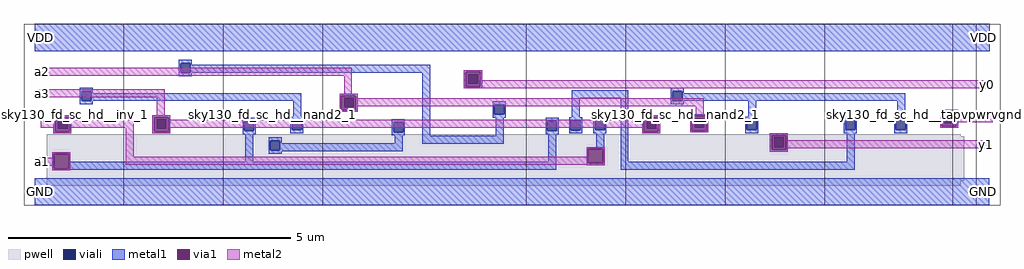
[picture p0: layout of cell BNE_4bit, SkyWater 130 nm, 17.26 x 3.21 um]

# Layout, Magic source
magic
tech sky130B
magscale 1 2
<< pwell >>
rect 80 244 3313 252
rect 80 86 3326 244
rect 80 69 3313 86
<< viali >>
rect 554 469 588 503
rect 1572 430 1606 464
rect 204 369 238 403
rect 1132 346 1166 380
rect 2294 369 2328 403
rect 1664 321 1698 355
rect 120 270 154 304
rect 470 270 504 304
rect 779 263 813 297
rect 948 267 982 301
rect 1307 259 1341 293
rect 1851 263 1885 297
rect 1934 266 1968 300
rect 2020 267 2054 301
rect 2202 270 2236 304
rect 2372 274 2406 308
rect 2557 267 2591 301
rect 2906 267 2940 301
rect 3084 267 3118 301
rect 3256 290 3290 324
rect 871 195 905 229
rect 2654 206 2688 240
<< metal1 >>
rect 38 544 3416 642
rect 548 503 594 515
rect 548 469 554 503
rect 588 497 594 503
rect 588 469 1436 497
rect 548 457 594 469
rect 198 403 244 415
rect 198 369 204 403
rect 238 397 244 403
rect 238 369 980 397
rect 198 357 244 369
rect 104 312 168 318
rect 104 260 110 312
rect 162 260 168 312
rect 104 254 168 260
rect 454 312 518 318
rect 952 313 980 369
rect 1116 388 1180 394
rect 1116 336 1122 388
rect 1174 336 1180 388
rect 1116 330 1180 336
rect 454 260 460 312
rect 512 260 518 312
rect 454 254 518 260
rect 773 297 819 309
rect 773 263 779 297
rect 813 263 819 297
rect 773 251 819 263
rect 942 301 988 313
rect 942 267 948 301
rect 982 267 988 301
rect 942 255 988 267
rect 1301 293 1347 305
rect 1301 259 1307 293
rect 1341 259 1347 293
rect 100 182 164 188
rect 100 130 106 182
rect 158 153 164 182
rect 783 153 811 251
rect 1301 247 1347 259
rect 865 229 911 241
rect 865 195 871 229
rect 905 219 911 229
rect 1311 219 1339 247
rect 905 195 1339 219
rect 1408 245 1436 469
rect 1556 472 1620 478
rect 1556 420 1562 472
rect 1614 420 1620 472
rect 1556 414 1620 420
rect 1938 378 2138 406
rect 1658 355 1704 367
rect 1658 321 1664 355
rect 1698 321 1704 355
rect 1658 309 1704 321
rect 1938 312 1966 378
rect 1668 245 1696 309
rect 1845 297 1891 309
rect 1845 263 1851 297
rect 1885 263 1891 297
rect 1845 251 1891 263
rect 1928 300 1974 312
rect 1928 266 1934 300
rect 1968 266 1974 300
rect 1928 254 1974 266
rect 2014 301 2060 313
rect 2014 267 2020 301
rect 2054 267 2060 301
rect 2014 255 2060 267
rect 1408 217 1696 245
rect 865 191 1339 195
rect 865 183 911 191
rect 1855 153 1883 251
rect 2024 206 2052 255
rect 158 130 1883 153
rect 1990 200 2054 206
rect 1990 148 1996 200
rect 2048 148 2054 200
rect 1990 142 2054 148
rect 2110 154 2138 378
rect 2288 403 2334 415
rect 2288 369 2294 403
rect 2328 397 2334 403
rect 2328 369 3116 397
rect 2288 357 2334 369
rect 2186 312 2250 318
rect 2186 260 2192 312
rect 2244 260 2250 312
rect 2186 254 2250 260
rect 2356 316 2420 322
rect 2356 264 2362 316
rect 2414 264 2420 316
rect 2561 313 2589 369
rect 3088 313 3116 369
rect 3240 332 3304 338
rect 2356 258 2420 264
rect 2551 301 2597 313
rect 2551 267 2557 301
rect 2591 267 2597 301
rect 2551 255 2597 267
rect 2900 301 2946 313
rect 2900 267 2906 301
rect 2940 267 2946 301
rect 2900 255 2946 267
rect 3078 301 3124 313
rect 3078 267 3084 301
rect 3118 267 3124 301
rect 3240 280 3246 332
rect 3298 280 3304 332
rect 3240 274 3304 280
rect 3078 255 3124 267
rect 2638 248 2702 254
rect 2638 196 2644 248
rect 2696 196 2702 248
rect 2638 190 2702 196
rect 2910 154 2938 255
rect 100 125 1883 130
rect 2110 126 2938 154
rect 100 124 164 125
rect 38 0 3414 96
<< via1 >>
rect 110 304 162 312
rect 110 270 120 304
rect 120 270 154 304
rect 154 270 162 304
rect 110 260 162 270
rect 1122 380 1174 388
rect 1122 346 1132 380
rect 1132 346 1166 380
rect 1166 346 1174 380
rect 1122 336 1174 346
rect 460 304 512 312
rect 460 270 470 304
rect 470 270 504 304
rect 504 270 512 304
rect 460 260 512 270
rect 106 130 158 182
rect 1562 464 1614 472
rect 1562 430 1572 464
rect 1572 430 1606 464
rect 1606 430 1614 464
rect 1562 420 1614 430
rect 1996 148 2048 200
rect 2192 304 2244 312
rect 2192 270 2202 304
rect 2202 270 2236 304
rect 2236 270 2244 304
rect 2192 260 2244 270
rect 2362 308 2414 316
rect 2362 274 2372 308
rect 2372 274 2406 308
rect 2406 274 2414 308
rect 2362 264 2414 274
rect 3246 324 3298 332
rect 3246 290 3256 324
rect 3256 290 3290 324
rect 3290 290 3298 324
rect 3246 280 3298 290
rect 2644 240 2696 248
rect 2644 206 2654 240
rect 2654 206 2688 240
rect 2688 206 2696 240
rect 2644 196 2696 206
<< metal2 >>
rect 52 458 1160 486
rect 50 382 498 410
rect 1132 394 1160 458
rect 1556 472 1620 478
rect 1556 420 1562 472
rect 1614 442 1620 472
rect 1614 420 3422 442
rect 1556 414 3422 420
rect 470 318 498 382
rect 1116 388 1180 394
rect 1116 336 1122 388
rect 1174 378 1180 388
rect 1174 350 2404 378
rect 1174 336 1180 350
rect 1116 330 1180 336
rect 2376 322 2404 350
rect 3240 332 3304 338
rect 104 312 168 318
rect 104 302 110 312
rect 60 274 110 302
rect 104 260 110 274
rect 162 302 168 312
rect 454 312 518 318
rect 162 274 388 302
rect 162 260 168 274
rect 104 254 168 260
rect 100 182 164 188
rect 100 168 106 182
rect 50 140 106 168
rect 100 130 106 140
rect 158 130 164 182
rect 360 172 388 274
rect 454 260 460 312
rect 512 302 518 312
rect 2186 312 2250 318
rect 2186 302 2192 312
rect 512 274 2192 302
rect 512 260 518 274
rect 454 254 518 260
rect 2186 260 2192 274
rect 2244 260 2250 312
rect 2186 254 2250 260
rect 2356 316 2420 322
rect 2356 264 2362 316
rect 2414 264 2420 316
rect 3240 280 3246 332
rect 3298 322 3304 332
rect 3298 294 3426 322
rect 3298 280 3304 294
rect 3240 274 3304 280
rect 2356 258 2420 264
rect 2638 248 2702 254
rect 1990 200 2054 206
rect 1990 172 1996 200
rect 360 148 1996 172
rect 2048 148 2054 200
rect 2638 196 2644 248
rect 2696 230 2702 248
rect 2696 202 3418 230
rect 2696 196 2702 202
rect 2638 190 2702 196
rect 360 144 2054 148
rect 1990 142 2054 144
rect 100 124 164 130
use sky130_fd_sc_hd__tapvpwrvgnd_1  sky130_fd_sc_hd__tapvpwrvgnd_1_0 $PDKPATH/libs.ref/sky130_fd_sc_hd/mag
transform 1 0 3322 0 1 48
box -38 -48 130 592
use sky130_fd_sc_hd__inv_1  x1 $PDKPATH/libs.ref/sky130_fd_sc_hd/mag
transform 1 0 38 0 1 48
box -38 -48 314 592
use sky130_fd_sc_hd__inv_1  x2
transform 1 0 390 0 1 48
box -38 -48 314 592
use sky130_fd_sc_hd__nand2_1  x3 $PDKPATH/libs.ref/sky130_fd_sc_hd/mag
transform 1 0 742 0 1 48
box -38 -48 314 592
use sky130_fd_sc_hd__a21oi_2  x4 $PDKPATH/libs.ref/sky130_fd_sc_hd/mag
transform 1 0 1094 0 1 48
box -38 -48 682 592
use sky130_fd_sc_hd__nand2_1  x5
transform 1 0 2166 0 1 48
box -38 -48 314 592
use sky130_fd_sc_hd__inv_2  x6 $PDKPATH/libs.ref/sky130_fd_sc_hd/mag
transform 1 0 2518 0 1 48
box -38 -48 314 592
use sky130_fd_sc_hd__nand2_1  x7
transform 1 0 1814 0 1 48
box -38 -48 314 592
use sky130_fd_sc_hd__nor2_2  x8 $PDKPATH/libs.ref/sky130_fd_sc_hd/mag
transform 1 0 2870 0 1 48
box -38 -48 498 592
<< labels >>
rlabel metal1 3370 544 3414 640 1 VDD
port 2 n power input
rlabel metal1 38 544 82 640 1 VDD
port 2 n power input
rlabel metal1 38 0 82 96 1 GND
port 3 n ground input
rlabel metal1 3370 0 3414 96 1 GND
port 3 n ground input
rlabel metal2 52 458 80 486 1 a2
port 4 n signal input
rlabel metal2 50 382 78 410 1 a3
port 5 n signal input
rlabel metal2 60 274 88 302 1 a0
port 6 n signal input
rlabel metal2 50 140 78 168 1 a1
port 7 n signal input
rlabel metal2 3394 414 3422 442 1 y0
port 8 n signal output
rlabel metal2 3398 294 3426 322 1 Q
port 9 n signal output
rlabel metal2 3390 202 3418 230 1 y1
port 10 n signal output
<< end >>
